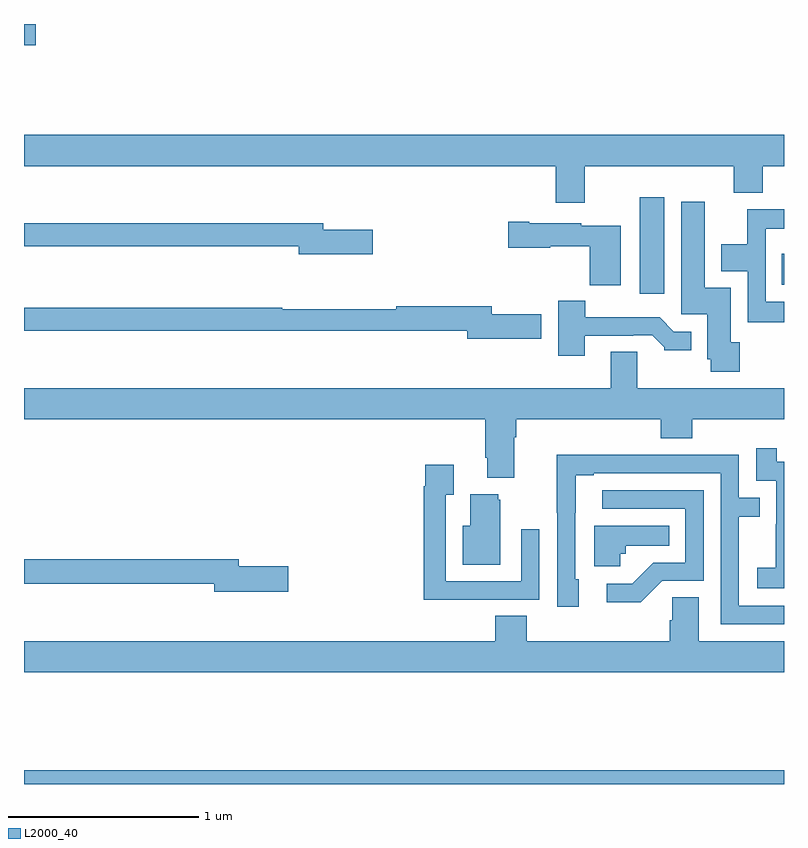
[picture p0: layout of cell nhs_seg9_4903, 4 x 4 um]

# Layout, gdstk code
import gdstk
lib = gdstk.Library(unit=1e-6, precision=1e-09)
def R(c, l, rs):  # rectangles x0, y0, x1, y1
    for r in rs: c.add(gdstk.rectangle(r[:2], r[2:], *l))
def P(c, l, *ps):  # polygons
    for p in ps: c.add(gdstk.Polygon(p, *l))
L2000_40 = (2000, 40)

nhs_seg9_4903 = lib.new_cell('nhs_seg9_4903')
R(nhs_seg9_4903, L2000_40, [(395,1194.5,399,1194.572), (398.24,1197.081,398.371,1197.589), (398.989,1197.128,399,1197.292), (395,1198.389,395.063,1198.5)])
P(nhs_seg9_4903, L2000_40, [(397.951,1197.752),(398.735,1197.752),(398.735,1197.611),(398.887,1197.611),(398.887,1197.752),(399,1197.752),(399,1197.916),(395,1197.916),(395,1197.752),(397.799,1197.752),(397.799,1197.558),(397.951,1197.558)],
  [(398.766,1196.826),(398.719,1196.826),(398.719,1197.112),(398.584,1197.112),(398.584,1197.565),(398.459,1197.565),(398.459,1196.973),(398.597,1196.973),(398.597,1196.736),(398.614,1196.736),(398.614,1196.67),(398.766,1196.67)],
  [(399,1197.039),(398.904,1197.039),(398.904,1197.422),(399,1197.422),(399,1197.526),(398.806,1197.526),(398.806,1197.34),(398.669,1197.34),(398.669,1197.2),(398.808,1197.2),(398.808,1196.931),(399,1196.931)],
  [(398.14,1197.439),(397.932,1197.439),(397.932,1197.451),(397.66,1197.451),(397.66,1197.459),(397.548,1197.459),(397.548,1197.322),(397.77,1197.322),(397.77,1197.329),(397.978,1197.329),(397.978,1197.125),(398.14,1197.125)],
  [(396.835,1197.417),(396.574,1197.417),(396.574,1197.451),(395,1197.451),(395,1197.33),(396.446,1197.33),(396.446,1197.287),(396.835,1197.287)],
  [(397.951,1196.859),(398.207,1196.859),(398.207,1196.862),(398.306,1196.862),(398.37,1196.798),(398.37,1196.783),(398.512,1196.783),(398.512,1196.88),(398.421,1196.88),(398.345,1196.956),(397.954,1196.956),(397.954,1197.043),(397.811,1197.043),(397.811,1196.754),(397.951,1196.754)],
  [(397.723,1196.973),(397.462,1196.973),(397.462,1197.014),(396.958,1197.014),(396.958,1196.999),(396.358,1196.999),(396.358,1197.007),(395,1197.007),(395,1196.886),(397.334,1196.886),(397.334,1196.843),(397.723,1196.843)],
  [(398.227,1196.774),(398.087,1196.774),(398.087,1196.584),(395,1196.584),(395,1196.42),(397.427,1196.42),(397.427,1196.218),(397.439,1196.218),(397.439,1196.111),(397.579,1196.111),(397.579,1196.324),(397.592,1196.324),(397.592,1196.42),(398.351,1196.42),(398.351,1196.321),(398.516,1196.321),(398.516,1196.42),(399,1196.42),(399,1196.584),(398.227,1196.584)],
  [(399,1196.196),(398.962,1196.196),(398.962,1196.266),(398.853,1196.266),(398.853,1196.097),(398.958,1196.097),(398.958,1195.868),(398.957,1195.868),(398.957,1195.639),(398.859,1195.639),(398.859,1195.529),(399,1195.529)],
  [(399,1195.437),(398.763,1195.437),(398.763,1195.906),(398.873,1195.906),(398.873,1196.007),(398.763,1196.007),(398.763,1196.232),(398.267,1196.232),(398.267,1196.234),(397.804,1196.234),(397.804,1195.927),(397.806,1195.927),(397.806,1195.434),(397.921,1195.434),(397.921,1195.578),(397.902,1195.578),(397.902,1195.927),(397.903,1195.927),(397.903,1196.124),(397.999,1196.124),(397.999,1196.136),(398.667,1196.136),(398.667,1195.341),(399,1195.341)],
  [(397.397,1195.47),(397.713,1195.47),(397.713,1195.84),(397.617,1195.84),(397.617,1195.566),(397.221,1195.566),(397.221,1196.023),(397.261,1196.023),(397.261,1196.179),(397.113,1196.179),(397.113,1196.066),(397.105,1196.066),(397.105,1195.469),(397.397,1195.469)],
  [(398.358,1195.569),(398.577,1195.569),(398.577,1196.046),(398.043,1196.046),(398.043,1195.95),(398.481,1195.95),(398.481,1195.665),(398.312,1195.665),(398.201,1195.554),(398.067,1195.554),(398.067,1195.457),(398.245,1195.457)],
  [(397.507,1195.995),(397.496,1195.995),(397.496,1196.026),(397.349,1196.026),(397.349,1195.858),(397.31,1195.858),(397.31,1195.655),(397.507,1195.655)],
  [(398.139,1195.713),(398.166,1195.713),(398.166,1195.754),(398.396,1195.754),(398.396,1195.858),(398,1195.858),(398,1195.646),(398.139,1195.646)],
  [(396.391,1195.646),(396.13,1195.646),(396.13,1195.682),(395,1195.682),(395,1195.554),(396.002,1195.554),(396.002,1195.511),(396.391,1195.511)],
  [(399,1195.252),(398.551,1195.252),(398.551,1195.484),(398.412,1195.484),(398.412,1195.361),(398.399,1195.361),(398.399,1195.252),(397.646,1195.252),(397.646,1195.385),(397.481,1195.385),(397.481,1195.252),(395,1195.252),(395,1195.088),(399,1195.088)])

lib.write_gds('nhs_seg9_4903.gds')
